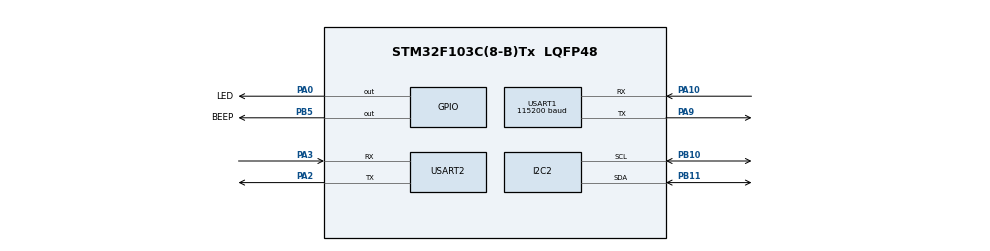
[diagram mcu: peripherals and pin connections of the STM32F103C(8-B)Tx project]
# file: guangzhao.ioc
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FREERTOS.Tasks01=Task_LightColle,1,128,StartTask_LightCollect,Default,NULL,Dynamic,NULL,NULL;Task_UartPrint,0,256,StartTask_UartPrint,Default,NULL,Dynamic,NULL,NULL;Task_Alarm,2,256,StartTask_Alarm,Default,NULL,Dynamic,NULL,NULL;Task_esp8266_se,0,256,StartTask_esp8266_send,Default,NULL,Dynamic,NULL,NULL;Task_esp8266_re,-1,256,StartTask_esp8266_recv,Default,NULL,Dynamic,NULL,NULL
FREERTOS.configTOTAL_HEAP_SIZE=8192
Mcu.Family=STM32F1
Mcu.Name=STM32F103C(8-B)Tx
Mcu.Package=LQFP48
NVIC.PriorityGroup=NVIC_PRIORITYGROUP_4
NVIC.TIM2_IRQn=true\:15\:0\:false\:false\:true\:false\:false\:true\:true
NVIC.TimeBase=TIM2_IRQn
NVIC.TimeBaseIP=TIM2
NVIC.USART2_IRQn=true\:5\:0\:false\:false\:true\:true\:true\:true\:true
PA0-WKUP.GPIO_Label=LED
PA0-WKUP.PinState=GPIO_PIN_SET
PA0-WKUP.Signal=GPIO_Output
PA10.Mode=Asynchronous
PA10.Signal=USART1_RX
PA13.Mode=Serial_Wire
PA13.Signal=SYS_JTMS-SWDIO
PA14.Mode=Serial_Wire
PA14.Signal=SYS_JTCK-SWCLK
PA2.Mode=Asynchronous
PA2.Signal=USART2_TX
PA3.Mode=Asynchronous
PA3.Signal=USART2_RX
PA9.Mode=Asynchronous
PA9.Signal=USART1_TX
PB10.Mode=I2C
PB10.Signal=I2C2_SCL
PB11.Mode=I2C
PB11.Signal=I2C2_SDA
PB5.GPIO_Label=BEEP
PB5.Signal=GPIO_Output
PD0-OSC_IN.Mode=HSE-External-Oscillator
PD0-OSC_IN.Signal=RCC_OSC_IN
PD1-OSC_OUT.Mode=HSE-External-Oscillator
PD1-OSC_OUT.Signal=RCC_OSC_OUT
ProjectManager.HeapSize=0x200
ProjectManager.StackSize=0x400
ProjectManager.TargetToolchain=MDK-ARM V5.32
RCC.APB1Freq_Value=8000000
RCC.APB2Freq_Value=8000000
USART1.BaudRate=115200
USART1.VirtualMode=VM_ASYNC
USART2.VirtualMode=VM_ASYNC
VP_FREERTOS_VS_CMSIS_V1.Mode=CMSIS_V1
VP_SYS_VS_tim2.Mode=TIM2
board=custom

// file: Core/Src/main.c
/* USER CODE BEGIN Header */
/**
  ******************************************************************************
  * @file           : main.c
  * @brief          : Main program body
  ******************************************************************************
  * @attention
  *
  * Copyright (c) 2026 STMicroelectronics.
  * All rights reserved.
  *
  * This software is licensed under terms that can be found in the LICENSE file
  * in the root directory of this software component.
  * If no LICENSE file comes with this software, it is provided AS-IS.
  *
  ******************************************************************************
  */
/* USER CODE END Header */
#include "main.h"
#include "cmsis_os.h"
#include "i2c.h"
#include "usart.h"
#include "gpio.h"

void SystemClock_Config(void);
void MX_FREERTOS_Init(void);

int main(void)
{

  /* MCU Configuration--------------------------------------------------------*/

  /* Reset of all peripherals, Initializes the Flash interface and the Systick. */
  HAL_Init();

  /* Configure the system clock */
  SystemClock_Config();

  /* Initialize all configured peripherals */
  MX_GPIO_Init();
  MX_I2C2_Init();
  MX_USART1_UART_Init();
  MX_USART2_UART_Init();

  /* Call init function for freertos objects (in freertos.c) */
  MX_FREERTOS_Init();

  /* Start scheduler */
  osKernelStart();
  /* We should never get here as control is now taken by the scheduler */
  /* Infinite loop */
  while (1)
  {

  }
}

void SystemClock_Config(void)
{
  RCC_OscInitTypeDef RCC_OscInitStruct = {0};
  RCC_ClkInitTypeDef RCC_ClkInitStruct = {0};

  /** Initializes the RCC Oscillators according to the specified parameters
  * in the RCC_OscInitTypeDef structure.
  */
  RCC_OscInitStruct.OscillatorType = RCC_OSCILLATORTYPE_HSI;
  RCC_OscInitStruct.HSIState = RCC_HSI_ON;
  RCC_OscInitStruct.HSICalibrationValue = RCC_HSICALIBRATION_DEFAULT;
  RCC_OscInitStruct.PLL.PLLState = RCC_PLL_NONE;
  if (HAL_RCC_OscConfig(&RCC_OscInitStruct) != HAL_OK)
  {
    Error_Handler();
  }

  /** Initializes the CPU, AHB and APB buses clocks
  */
  RCC_ClkInitStruct.ClockType = RCC_CLOCKTYPE_HCLK|RCC_CLOCKTYPE_SYSCLK
                              |RCC_CLOCKTYPE_PCLK1|RCC_CLOCKTYPE_PCLK2;
  RCC_ClkInitStruct.SYSCLKSource = RCC_SYSCLKSOURCE_HSI;
  RCC_ClkInitStruct.AHBCLKDivider = RCC_SYSCLK_DIV1;
  RCC_ClkInitStruct.APB1CLKDivider = RCC_HCLK_DIV1;
  RCC_ClkInitStruct.APB2CLKDivider = RCC_HCLK_DIV1;

  if (HAL_RCC_ClockConfig(&RCC_ClkInitStruct, FLASH_LATENCY_0) != HAL_OK)
  {
    Error_Handler();
  }
}

void HAL_TIM_PeriodElapsedCallback(TIM_HandleTypeDef *htim)
{
  if (htim->Instance == TIM2) {
    HAL_IncTick();
  }
}

void Error_Handler(void)
{
  __disable_irq();
  while (1)
  {
  }
}

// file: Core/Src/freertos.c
/* USER CODE BEGIN Header */
/**
  ******************************************************************************
  * File Name          : freertos.c
  * Description        : Code for freertos applications
  ******************************************************************************
  * @attention
  *
  * Copyright (c) 2026 STMicroelectronics.
  * All rights reserved.
  *
  * This software is licensed under terms that can be found in the LICENSE file
  * in the root directory of this software component.
  * If no LICENSE file comes with this software, it is provided AS-IS.
  *
  ******************************************************************************
  */
/* USER CODE END Header */

#include "FreeRTOS.h"
#include "task.h"
#include "main.h"
#include "cmsis_os.h"

/* USER CODE BEGIN Includes */
#include "i2c.h"
#include "usart.h"
#include "gpio.h"
#include <stdio.h>
#include <string.h>

volatile uint16_t g_light_lux = 0;
uint8_t esp8266_rx_buf[128];
uint8_t esp8266_tx_buf[128];

/* USER CODE END Includes */

/* USER CODE BEGIN PD */
#define BH1750_ADDR 0x23
/* USER CODE END PD */

/* USER CODE BEGIN Variables */
void BH1750_Init(void);
uint16_t BH1750_ReadLux(void);
void HAL_UART_RxCpltCallback(UART_HandleTypeDef *huart);
/* USER CODE END Variables */
osThreadId Task_LightColleHandle;
osThreadId Task_UartPrintHandle;
osThreadId Task_AlarmHandle;
osThreadId Task_esp8266_seHandle;
osThreadId Task_esp8266_reHandle;

void StartTask_LightCollect(void const * argument);
void StartTask_UartPrint(void const * argument);
void StartTask_Alarm(void const * argument);
void StartTask_esp8266_send(void const * argument);
void StartTask_esp8266_recv(void const * argument);

void MX_FREERTOS_Init(void); /* (MISRA C 2004 rule 8.1) */

/* GetIdleTaskMemory prototype (linked to static allocation support) */
void vApplicationGetIdleTaskMemory( StaticTask_t **ppxIdleTaskTCBBuffer, StackType_t **ppxIdleTaskStackBuffer, uint32_t *pulIdleTaskStackSize );

/* USER CODE BEGIN GET_IDLE_TASK_MEMORY */
static StaticTask_t xIdleTaskTCBBuffer;
static StackType_t xIdleStack[configMINIMAL_STACK_SIZE];

void vApplicationGetIdleTaskMemory( StaticTask_t **ppxIdleTaskTCBBuffer, StackType_t **ppxIdleTaskStackBuffer, uint32_t *pulIdleTaskStackSize )
{
  *ppxIdleTaskTCBBuffer = &xIdleTaskTCBBuffer;
  *ppxIdleTaskStackBuffer = &xIdleStack[0];
  *pulIdleTaskStackSize = configMINIMAL_STACK_SIZE;
}
/* USER CODE END GET_IDLE_TASK_MEMORY */

void MX_FREERTOS_Init(void) {

  /* Create the thread(s) */
  /* definition and creation of Task_LightColle */
  osThreadDef(Task_LightColle, StartTask_LightCollect, osPriorityAboveNormal, 0, 128);
  Task_LightColleHandle = osThreadCreate(osThread(Task_LightColle), NULL);

  /* definition and creation of Task_UartPrint */
  osThreadDef(Task_UartPrint, StartTask_UartPrint, osPriorityNormal, 0, 256);
  Task_UartPrintHandle = osThreadCreate(osThread(Task_UartPrint), NULL);

  /* definition and creation of Task_Alarm */
  osThreadDef(Task_Alarm, StartTask_Alarm, osPriorityHigh, 0, 256);
  Task_AlarmHandle = osThreadCreate(osThread(Task_Alarm), NULL);

  /* definition and creation of Task_esp8266_se */
  osThreadDef(Task_esp8266_se, StartTask_esp8266_send, osPriorityNormal, 0, 256);
  Task_esp8266_seHandle = osThreadCreate(osThread(Task_esp8266_se), NULL);

  /* definition and creation of Task_esp8266_re */
  osThreadDef(Task_esp8266_re, StartTask_esp8266_recv, osPriorityBelowNormal, 0, 256);
  Task_esp8266_reHandle = osThreadCreate(osThread(Task_esp8266_re), NULL);

  /* USER CODE BEGIN RTOS_THREADS */
  // 开启中断接收（只开这一次！）
  HAL_UART_Receive_IT(&huart2, esp8266_rx_buf, 1);
  /* USER CODE END RTOS_THREADS */

}

void StartTask_LightCollect(void const * argument)
{
  /* USER CODE BEGIN StartTask_LightCollect */
  BH1750_Init();
  for(;;)
  {
    g_light_lux = BH1750_ReadLux();
    osDelay(1000);
  }
  /* USER CODE END StartTask_LightCollect */
}

void StartTask_UartPrint(void const * argument)
{
  /* USER CODE BEGIN StartTask_UartPrint */
  char buf[64];
  for(;;)
  {
    sprintf(buf, "Light: %d lux\r\n", g_light_lux);
    HAL_UART_Transmit(&huart1, (uint8_t*)buf, strlen(buf), 100);
    osDelay(1000);
  }
  /* USER CODE END StartTask_UartPrint */
}

void StartTask_Alarm(void const * argument)
{
  /* USER CODE BEGIN StartTask_Alarm */
  for(;;)
  {
    if(g_light_lux < 5)
    {
      HAL_GPIO_TogglePin(LED_GPIO_Port, LED_Pin);
      HAL_GPIO_WritePin(BEEP_GPIO_Port, BEEP_Pin, GPIO_PIN_RESET);
      osDelay(30);
      HAL_GPIO_WritePin(BEEP_GPIO_Port, BEEP_Pin, GPIO_PIN_SET);
      osDelay(200);
    }
    else if(g_light_lux > 600)
    {
      HAL_GPIO_TogglePin(LED_GPIO_Port, LED_Pin);
      HAL_GPIO_WritePin(BEEP_GPIO_Port, BEEP_Pin, GPIO_PIN_RESET);
      osDelay(30);
      HAL_GPIO_WritePin(BEEP_GPIO_Port, BEEP_Pin, GPIO_PIN_SET);
      osDelay(200);
    }
    else
    {
      HAL_GPIO_WritePin(LED_GPIO_Port, LED_Pin, GPIO_PIN_SET);
      HAL_GPIO_WritePin(BEEP_GPIO_Port, BEEP_Pin, GPIO_PIN_SET);
      osDelay(500);
    }
  }
  /* USER CODE END StartTask_Alarm */
}

void StartTask_esp8266_send(void const * argument)
{
  /* USER CODE BEGIN StartTask_esp8266_send */
  uint8_t tx_buf[128];
  osDelay(2000);  // 等待ESP8266上电稳定

  // 测试AT
  sprintf((char*)tx_buf, "AT\r\n");
  HAL_UART_Transmit(&huart2, tx_buf, strlen((char*)tx_buf), 100);
  osDelay(1000);

  // 关闭回显（关键！防止乱数据）
  sprintf((char*)tx_buf, "ATE0\r\n");
  HAL_UART_Transmit(&huart2, tx_buf, strlen((char*)tx_buf), 100);
  osDelay(1000);

  // 设置Station模式
  sprintf((char*)tx_buf, "AT+CWMODE=1\r\n");
  HAL_UART_Transmit(&huart2, tx_buf, strlen((char*)tx_buf), 100);
  osDelay(2000);

  // 重启生效
  sprintf((char*)tx_buf, "AT+RST\r\n");
  HAL_UART_Transmit(&huart2, tx_buf, strlen((char*)tx_buf), 100);
  osDelay(3000);

  // 连接WiFi
  sprintf((char*)tx_buf, "AT+CWJAP=\"iQOO Z10 Turbo+\",\"12345678\"\r\n");
  HAL_UART_Transmit(&huart2, tx_buf, strlen((char*)tx_buf), 100);
  osDelay(8000);

  // 单连接模式
  sprintf((char*)tx_buf, "AT+CIPMUX=0\r\n");
  HAL_UART_Transmit(&huart2, tx_buf, strlen((char*)tx_buf), 100);
  osDelay(1000);

  // 连接TCP服务器
  sprintf((char*)tx_buf, "AT+CIPSTART=\"TCP\",\"192.168.94.228\",8081\r\n");
  HAL_UART_Transmit(&huart2, tx_buf, strlen((char*)tx_buf), 100);
  osDelay(3000);

  for(;;)
  {
    // 发送数据
    sprintf((char*)tx_buf, "AT+CIPSEND=%d\r\n", 16);
    HAL_UART_Transmit(&huart2, tx_buf, strlen((char*)tx_buf), 100);
    osDelay(100);

    sprintf((char*)tx_buf, "Light: %d lux\r\n", g_light_lux);
    HAL_UART_Transmit(&huart2, tx_buf, strlen((char*)tx_buf), 100);

    osDelay(2000);
  }
  /* USER CODE END StartTask_esp8266_send */
}

void StartTask_esp8266_recv(void const * argument)
{
  /* USER CODE BEGIN StartTask_esp8266_recv */
  for(;;)
  {
    // 空任务，只用来让系统调度，接收全部由中断完成
    osDelay(1000);
  }
  /* USER CODE END StartTask_esp8266_recv */
}

/* USER CODE BEGIN Application */
void BH1750_Init(void)
{
  uint8_t cmd = 0x01;
  HAL_I2C_Master_Transmit(&hi2c2, BH1750_ADDR<<1, &cmd, 1, 100);
}

uint16_t BH1750_ReadLux(void)
{
  uint8_t buf[2] = {0};
  uint8_t cmd = 0x20;
  HAL_I2C_Master_Transmit(&hi2c2, BH1750_ADDR<<1, &cmd, 1, 100);
  HAL_Delay(180);
  HAL_I2C_Master_Receive(&hi2c2, BH1750_ADDR<<1, buf, 2, 100);
  return (buf[0] << 8 | buf[1]) / 1.2f;
}

// 中断接收（正常转发）
void HAL_UART_RxCpltCallback(UART_HandleTypeDef *huart)
{
  if(huart->Instance == USART2)
  {
    HAL_UART_Transmit(&huart1, esp8266_rx_buf, 1, 100);
    HAL_UART_Receive_IT(&huart2, esp8266_rx_buf, 1);
  }
}
/* USER CODE END Application */
